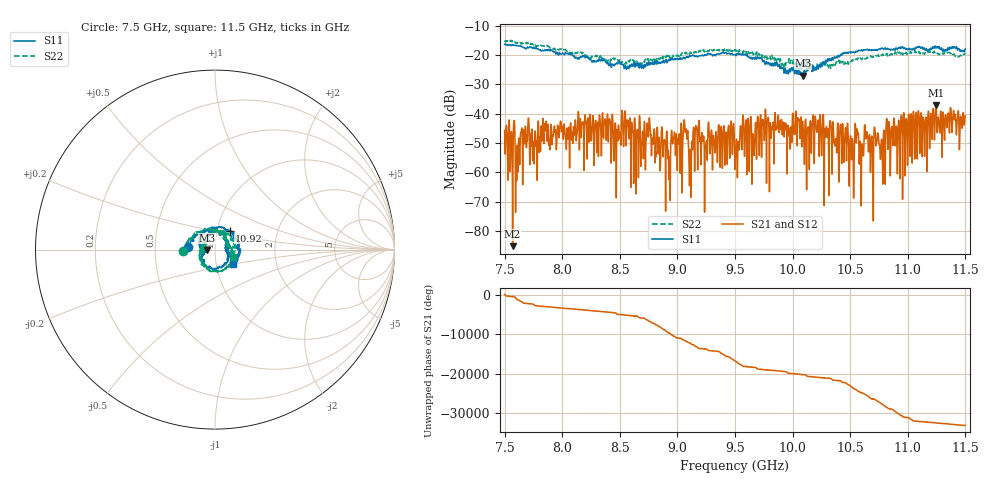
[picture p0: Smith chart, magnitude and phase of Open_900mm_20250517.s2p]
#  HZ  S  DB  R  50.00
! Rohde & Schwarz ZVA40 2Ports - Version 4.11 - 1145.1110k40 SN: 100216
! Date: 2025-05-17 20:22:14
! Measurements: S11 S21 S12 S22
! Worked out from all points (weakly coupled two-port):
!   5001 points, 7.5 GHz to 11.5 GHz, reference 50 ohm
!   highest |S21| = -37.15 dB at 11.24 GHz (marker M1); lowest = -85.1 dB at 7.57 GHz (marker M2)
!   lowest |S11| = -27.1 dB at 10.09 GHz (marker M3), VSWR 1.09, Z = 45.8 - j0.24 ohm
!   |S11| at or under -10 dB: start of sweep to end of sweep
!   |S22| runs from -25.3 to -15.0 dB; largest |S21 - S12| = 0.00011
!   S11 on the Smith chart (normalised r, x): 7.5 GHz: 0.74, +0.02; 10.92 GHz: 1.15, +0.25; 11.5 GHz: 1.20, -0.20
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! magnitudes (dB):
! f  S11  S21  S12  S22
! 7.5 GHz  -16.4  -45.7  -45.7  -15.0
! 7.57 GHz  -16.5  -85.1  -86.3  -15.4
! 7.613 GHz  -16.9  -54.1  -53.9  -15.7
! 7.694 GHz  -17.4  -48.8  -48.8  -16.1
! 7.764 GHz  -17.8  -45.9  -45.9  -16.5
! 7.846 GHz  -18.2  -43.6  -43.6  -17.0
! 8.167 GHz  -20.7  -44.3  -44.3  -19.1
! 8.834 GHz  -22.8  -53.7  -53.7  -21.2
! 9.071 GHz  -20.9  -46.0  -46.0  -19.3
! 9.114 GHz  -20.3  -52.5  -52.5  -19.0
! 9.5 GHz  -19.8  -59.0  -59.1  -18.1
! 10.09 GHz  -27.1  -44.5  -44.4  -24.1
! 10.17 GHz  -25.5  -46.4  -46.4  -24.7
! 10.51 GHz  -19.0  -55.6  -55.7  -22.0
! 10.56 GHz  -18.9  -47.6  -47.6  -21.3
! 10.6 GHz  -18.3  -63.3  -63.4  -21.5
! 10.64 GHz  -18.2  -48.2  -48.2  -21.3
! 10.68 GHz  -18.5  -48.1  -48.0  -20.5
! 10.83 GHz  -18.1  -44.2  -44.1  -19.7
! 10.92 GHz  -17.5  -43.7  -43.7  -19.2
! 11.24 GHz  -17.6  -37.2  -37.2  -19.1
! 11.5 GHz  -17.9  -40.7  -40.7  -19.5
